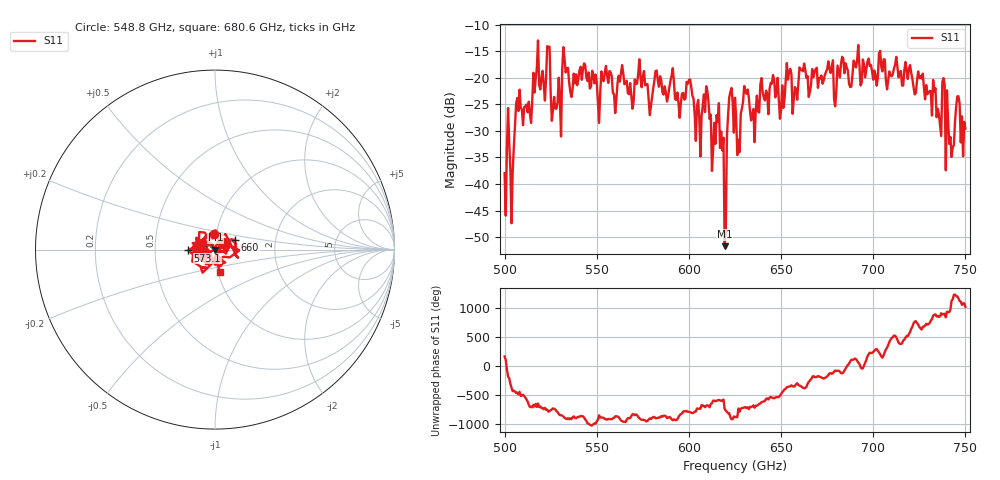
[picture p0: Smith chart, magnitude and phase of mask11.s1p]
!Created with skrf (http://scikit-rf.org).
# GHz S MA R 50.0
!freq magS11 angS11
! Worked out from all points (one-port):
!   401 points, 500 GHz to 750 GHz, reference 50 ohm
!   lowest |S11| = -51.7 dB at 619.4 GHz (marker M1), VSWR 1.01, Z = 50.3 - j0.0661 ohm
!   |S11| at or under -10 dB: start of sweep to end of sweep
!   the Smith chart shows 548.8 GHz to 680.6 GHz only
!   S11 on the Smith chart (normalised r, x): 548.8 GHz: 0.98, +0.17; 573.1 GHz: 0.74, -0.01; 660 GHz: 1.24, +0.14; 680.6 GHz: 1.02, -0.26
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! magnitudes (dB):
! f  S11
! 500 GHz  -38.0
! 504.4 GHz  -37.8
! 506.9 GHz  -23.8
! 513.8 GHz  -26.8
! 516.9 GHz  -20.1
! 523.8 GHz  -14.2
! 526.9 GHz  -23.6
! 531.2 GHz  -18.4
! 548.8 GHz  -21.0
! 562.5 GHz  -20.7
! 573.1 GHz  -16.5
! 593.8 GHz  -22.8
! 605 GHz  -24.2
! 609.4 GHz  -21.6
! 613.1 GHz  -33.6
! 617.5 GHz  -30.1
! 619.4 GHz  -51.7
! 622.5 GHz  -22.6
! 625 GHz  -23.8
! 656.2 GHz  -26.8
! 660 GHz  -18.0
! 680.6 GHz  -17.7
! 687.5 GHz  -21.7
! 718.8 GHz  -20.2
! 738.8 GHz  -21.3
! 742.5 GHz  -34.9
! 745.6 GHz  -23.5
! 750 GHz  -29.5
